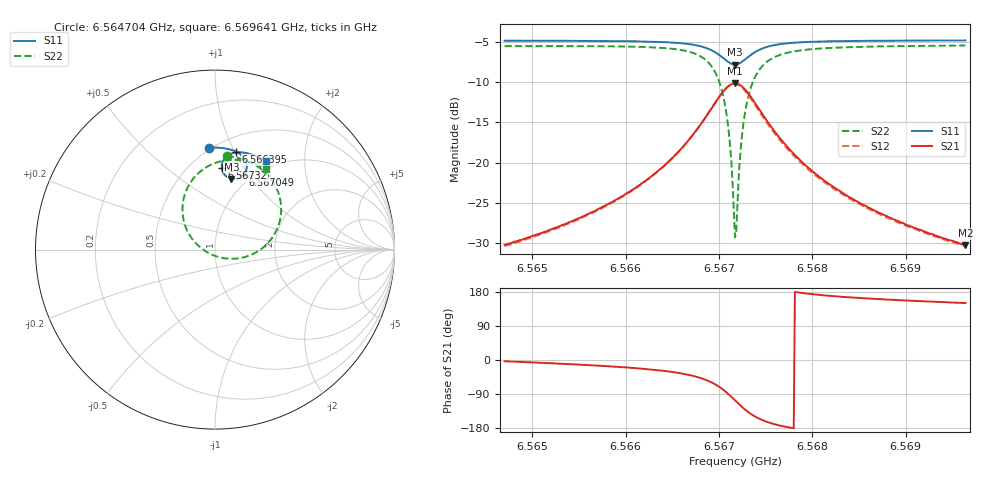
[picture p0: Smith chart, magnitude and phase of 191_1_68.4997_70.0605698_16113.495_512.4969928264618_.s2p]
#  HZ  S  RI  R  50.00
! Rohde & Schwarz Vector Network Analyzer
! Rohde-Schwarz,ZNB20-2Port,1311601062101988,3.16
! Created: UTC 3/20/2024, 5:12:14 PM
! freq[Hz]  re:S11  im:S11  re:S21  im:S21  re:S12  im:S12  re:S22  im:S22
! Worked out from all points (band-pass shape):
!   401 points, 6.564704 GHz to 6.569641 GHz, reference 50 ohm
!   highest |S21| = -10.19 dB at 6.567172 GHz (marker M1); lowest = -30.2 dB at 6.569641 GHz (marker M2)
!   |S21| within 3 dB of the highest: 6.566927 GHz to 6.567419 GHz (492.2 kHz wide, 0.00749 % of centre)
!   lowest |S11| = -7.9 dB at 6.567172 GHz (marker M3), VSWR 2.36, Z = 42.7 + j40.2 ohm
!   |S11| at or under -10 dB: nowhere
!   |S22| runs from -29.3 to -5.5 dB; largest |S21 - S12| = 0.015
!   S11 on the Smith chart (normalised r, x): 6.564704 GHz: 0.48, +0.81; 6.566395 GHz: 0.64, +1.01; 6.567049 GHz: 0.91, +0.94; 6.56732 GHz: 0.70, +0.80; 6.569641 GHz: 0.89, +1.31
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6.564704e9  -0.0359 0.568  0.0308 -0.00184  0.0303 -0.00239  0.0655 0.5222
6.5655309e9  0.0333 0.5666  0.0449 -0.0101  0.0442 -0.0106  0.148 0.5049
6.5663578e9  0.1143 0.5471  0.0798 -0.0409  0.0785 -0.0419  0.2683 0.4397
6.5663948e9  0.1185 0.5451  0.0824 -0.0443  0.0811 -0.0452  0.2755 0.4332
6.566654e9  0.1507 0.5229  0.1046 -0.0819  0.1029 -0.0837  0.3338 0.3592
6.5668514e9  0.1739 0.4852  0.1168 -0.1477  0.1139 -0.1509  0.3685 0.2323
6.5669625e9  0.1754 0.4483  0.1012 -0.2127  0.0953 -0.2167  0.3434 0.109
6.5670489e9  0.1575 0.4138  0.053 -0.2712  0.0427 -0.2743  0.2536 0.000175
6.5670859e9  0.1417 0.4014  0.0177 -0.2912  0.00561 -0.2924  0.1882 -0.0345
6.5671106e9  0.1289 0.3956  -0.0101 -0.2998  -0.0234 -0.2991  0.1368 -0.0481
6.56716e9  0.099 0.3924  -0.0718 -0.3004  -0.0857 -0.295  0.0255 -0.0428
6.5671723e9  0.0915 0.3937  -0.0874 -0.2969  -0.1009 -0.2901  -0.00177 -0.0344
6.5671847e9  0.0841 0.396  -0.1024 -0.2915  -0.1155 -0.2836  -0.028 -0.0232
6.567197e9  0.077 0.3988  -0.1167 -0.2848  -0.1292 -0.2759  -0.0525 -0.00934
6.567234e9  0.0587 0.4117  -0.1543 -0.2577  -0.1641 -0.246  -0.1146 0.044
6.5672587e9  0.0496 0.4227  -0.1733 -0.2354  -0.1808 -0.2227  -0.1443 0.0859
6.5673204e9  0.0382 0.453  -0.1992 -0.1758  -0.2015 -0.1631  -0.1797 0.1933
6.5674191e9  0.0446 0.4931  -0.1959 -0.0982  -0.1938 -0.0887  -0.1605 0.3282
6.5675672e9  0.0724 0.5253  -0.1604 -0.0355  -0.1569 -0.0301  -0.0844 0.4329
6.5679992e9  0.1407 0.5423  -0.088 0.00971  -0.0859 0.011  0.073 0.499
6.5688261e9  0.2217 0.524  -0.0427 0.0161  -0.0417 0.0165  0.2051 0.4837
6.5696406e9  0.2838 0.4952  -0.0268 0.0152  -0.0262 0.0153  0.2815 0.4506
